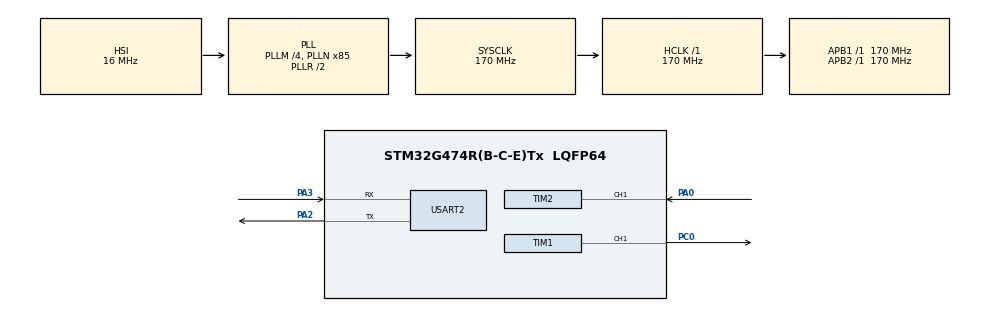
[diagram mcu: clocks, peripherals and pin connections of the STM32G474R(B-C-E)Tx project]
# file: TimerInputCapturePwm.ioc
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Mcu.Family=STM32G4
Mcu.Name=STM32G474R(B-C-E)Tx
Mcu.Package=LQFP64
NVIC.PriorityGroup=NVIC_PRIORITYGROUP_4
NVIC.TIM2_IRQn=true\:0\:0\:false\:false\:true\:true\:true\:true
NVIC.USART2_IRQn=true\:0\:0\:false\:false\:true\:true\:true\:true
PA0.Signal=S_TIM2_CH1
PA2.Mode=Asynchronous
PA2.Signal=USART2_TX
PA3.Mode=Asynchronous
PA3.Signal=USART2_RX
PC0.Signal=S_TIM1_CH1
ProjectManager.HeapSize=0x200
ProjectManager.StackSize=0x400
ProjectManager.TargetToolchain=STM32CubeIDE
RCC.ADC12Freq_Value=170000000
RCC.ADC345Freq_Value=170000000
RCC.AHBFreq_Value=170000000
RCC.APB1Freq_Value=170000000
RCC.APB1TimFreq_Value=170000000
RCC.APB2Freq_Value=170000000
RCC.APB2TimFreq_Value=170000000
RCC.CortexFreq_Value=170000000
RCC.EXTERNAL_CLOCK_VALUE=12288000
RCC.HCLKFreq_Value=170000000
RCC.HSE_VALUE=8000000
RCC.HSI48_VALUE=48000000
RCC.HSI_VALUE=16000000
RCC.LSE_VALUE=32768
RCC.PLLM=RCC_PLLM_DIV4
RCC.PLLN=85
RCC.SYSCLKFreq_VALUE=170000000
RCC.SYSCLKSource=RCC_SYSCLKSOURCE_PLLCLK
RCC.USBFreq_Value=170000000
RCC.VCOOutputFreq_Value=340000000
SH.S_TIM1_CH1.0=TIM1_CH1,PWM Generation1 CH1
SH.S_TIM2_CH1.0=TIM2_CH1,Input_Capture1_from_TI1
TIM1.Channel-PWM\ Generation1\ CH1=TIM_CHANNEL_1
TIM1.PeriodNoDither=0xffff
TIM1.Prescaler=170-1
TIM2.Channel-Input_Capture1_from_TI1=TIM_CHANNEL_1
TIM2.ICPolarity_CH1=TIM_INPUTCHANNELPOLARITY_RISING
TIM2.PeriodNoDither=0xffffffff
TIM2.Prescaler=17-1
USART2.VirtualMode-Asynchronous=VM_ASYNC
VP_SYS_VS_DBSignals.Mode=DisableDeadBatterySignals
VP_TIM1_VS_ClockSourceINT.Mode=Internal
VP_TIM2_VS_ClockSourceINT.Mode=Internal
board=custom

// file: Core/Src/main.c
/* USER CODE BEGIN Header */
/**
  ******************************************************************************
  * @file           : main.c
  * @brief          : PWM Generator and Measurement with UART Control
  ******************************************************************************
  * @attention
  *
  * Copyright (c) 2025 STMicroelectronics.
  * All rights reserved.
  ******************************************************************************
  */
/* USER CODE END Header */

#include "main.h"
#include <stdlib.h>
#include "string.h"
#include "math.h"
#include <stdio.h>

/* USER CODE BEGIN PD */
// TIM1 için clock ayarları (PWM üretimi)
#define TIM1_CLK_HZ         (170000000UL)     // APB2 timer clock (170 MHz)
#define TIM1_PSC_VALUE      (170UL)           // Prescaler değeri: 170MHz / 170 = 1MHz

// TIM2 için clock ayarları (Input Capture) - YÜKSEK FREKANS İÇİN
#define TIM2_CLK_HZ         (170000000UL)     // APB1 timer clock (170 MHz)
#define TIM2_PSC_VALUE      (17UL)            // Prescaler değeri: 170MHz / 17 = 10MHz
#define TICK_HZ             (TIM2_CLK_HZ / TIM2_PSC_VALUE)   // 10 MHz
#define TICK_TO_US(x)       ((float)(x) * (1000000.0f / (float)TICK_HZ))
#define DIFF_TICKS(a,b)     (((b)>=(a)) ? ((b)-(a)) : (0xFFFFFFFFu - (a) + (b) + 1u))

// UART buffer size
#define UART_RX_BUFFER_SIZE 100
/* USER CODE END PD */

TIM_HandleTypeDef htim1;
TIM_HandleTypeDef htim2;
UART_HandleTypeDef huart2;

/* USER CODE BEGIN PV */
volatile uint8_t changed = 0;

typedef enum {  // sabit değişkenleri numaralandırarak kullandım
    IC_WAIT_RISE = 0,
    IC_WAIT_FALL,
    IC_WAIT_NEXT_RISE
} ic_state_t;

static volatile ic_state_t ic_state = IC_WAIT_RISE;
static volatile uint32_t t_rise1 = 0;
static volatile uint32_t t_fall  = 0;
static volatile uint32_t t_rise2 = 0;
static volatile uint32_t high_ticks   = 0;
static volatile uint32_t period_ticks = 0;

/* Ölçüm sonuçları */
volatile float frequency_hz = 0.0f;
volatile float duty_percent = 0.0f;
volatile uint32_t pulse_us  = 0;

/* PWM parametreleri */
static uint32_t current_frequency = 15000;  // Başlangıç frekansı (Hz)
static uint32_t current_duty = 25;          // Başlangıç duty cycle (%)

/* UART buffers */
static uint8_t uart_rx_buffer[UART_RX_BUFFER_SIZE];
static uint8_t uart_rx_char;
static volatile uint8_t uart_rx_index = 0;
static volatile uint8_t uart_command_ready = 0;
/* USER CODE END PV */

void SystemClock_Config(void);
static void MX_GPIO_Init(void);
static void MX_TIM1_Init(void);
static void MX_TIM2_Init(void);
static void MX_USART2_UART_Init(void);

/* USER CODE BEGIN PFP */
static inline void IC_SetPolarity_Rising(void) {
    __HAL_TIM_DISABLE_IT(&htim2, TIM_IT_CC1);
    __HAL_TIM_SET_CAPTUREPOLARITY(&htim2, TIM_CHANNEL_1, TIM_INPUTCHANNELPOLARITY_RISING);
    __HAL_TIM_CLEAR_FLAG(&htim2, TIM_FLAG_CC1);
    __HAL_TIM_ENABLE_IT(&htim2, TIM_IT_CC1);
}

static inline void IC_SetPolarity_Falling(void) {
    __HAL_TIM_DISABLE_IT(&htim2, TIM_IT_CC1);
    __HAL_TIM_SET_CAPTUREPOLARITY(&htim2, TIM_CHANNEL_1, TIM_INPUTCHANNELPOLARITY_FALLING);
    __HAL_TIM_CLEAR_FLAG(&htim2, TIM_FLAG_CC1);
    __HAL_TIM_ENABLE_IT(&htim2, TIM_IT_CC1);
}

void IC_Start(void)
{
    __HAL_TIM_SET_COUNTER(&htim2, 0);
    IC_SetPolarity_Rising();
    ic_state = IC_WAIT_RISE;

    // Input capture için timer'ı yüksek hızda başlattım
    HAL_TIM_IC_Start_IT(&htim2, TIM_CHANNEL_1);

    // Debug mesajı
    char msg[] = "Input Capture started at 10MHz resolution\r\n";
    HAL_UART_Transmit(&huart2, (uint8_t*)msg, strlen(msg), 100);
}

void PWM_UpdateParameters(uint32_t frequency, uint32_t duty_percent_val)
{
    // Frekans sınırlaması kontrolü
    if (frequency > 75000) frequency = 75000;  // Maksimum 75kHz
    if (frequency < 1) frequency = 1;            // Minimum 1Hz
    if (duty_percent_val > 99) duty_percent_val = 99;  // Maksimum %99
    if (duty_percent_val < 1) duty_percent_val = 1;    // Minimum %1

    // HESAPLAMA SATIRLARI
    // Timer clock = 170MHz / prescaler(170) = 1MHz
    // Period = (Timer_Clock / Desired_Frequency) - 1
    uint32_t period = (1000000 / frequency) - 1; // ARR değeri (10MHz bazında)
    uint32_t pulse = ((period + 1) * duty_percent_val) / 100;  // CCR değeri

    // PWM parametrelerini güncelledim
    __HAL_TIM_SET_AUTORELOAD(&htim1, period);
    __HAL_TIM_SET_COMPARE(&htim1, TIM_CHANNEL_1, pulse);

    // Global değişkenleri güncelledim
    current_frequency = frequency;
    current_duty = duty_percent_val;

    // Debug için UART'a gerçek hesaplanan değerleri gönderdim
    char debug[150];
    sprintf(debug, "DEBUG: period=%lu, pulse=%lu, actual_freq=%.2f Hz\r\n",
            period, pulse, 1000000.0f/(period+1));
    HAL_UART_Transmit(&huart2, (uint8_t*)debug, strlen(debug), 100);
}

void UART_SendMeasurements(void)
{
    char buffer[200];
    sprintf(buffer, "\r\n--- PWM Measurements ---\r\n");
    HAL_UART_Transmit(&huart2, (uint8_t*)buffer, strlen(buffer), 100);

    sprintf(buffer, "Set Frequency: %lu Hz, Set Duty: %lu%%\r\n", current_frequency, current_duty);
    HAL_UART_Transmit(&huart2, (uint8_t*)buffer, strlen(buffer), 100);

    sprintf(buffer, "Measured Frequency: %.2f Hz\r\n", frequency_hz);
    HAL_UART_Transmit(&huart2, (uint8_t*)buffer, strlen(buffer), 100);

    sprintf(buffer, "Measured Duty Cycle: %.2f%%\r\n", duty_percent);
    HAL_UART_Transmit(&huart2, (uint8_t*)buffer, strlen(buffer), 100);

    sprintf(buffer, "Pulse Width: %lu us\r\n", pulse_us);
    HAL_UART_Transmit(&huart2, (uint8_t*)buffer, strlen(buffer), 100);

    sprintf(buffer, "------------------------\r\n");
    HAL_UART_Transmit(&huart2, (uint8_t*)buffer, strlen(buffer), 100);
}

void UART_SendHelp(void)
{
    char help_text[] =
        "\r\n=== PWM Generator Control ===\r\n"
        "Commands:\r\n"
        "  F <value>  - Set frequency (1-500000 Hz)\r\n"
        "  D <value>  - Set duty cycle (1-99%)\r\n"
        "  M          - Show measurements\r\n"
        "  H          - Show this help\r\n"
        "\r\n Examples: \r\n"
        "  F45000     - Set frequency to 45000 Hz\r\n"
        "  D75        - Set duty cycle to 75%\r\n";

    HAL_UART_Transmit(&huart2, (uint8_t*)help_text, strlen(help_text), 1000);
}

void Process_UART_Command(void)
{
    if (!uart_command_ready) return;

    uart_command_ready = 0;
    uart_rx_buffer[uart_rx_index] = '\0'; // Null

    char command = uart_rx_buffer[0];
    uint32_t value = 0;

    if (uart_rx_index > 1) {
        value = atoi((char*)&uart_rx_buffer[1]);  // atoi stringi int çevirir
    }

    switch (command) {
        case 'F':
        case 'f':
            if (value >= 1 && value <= 500000) {
                PWM_UpdateParameters(value, current_duty);
                char response[100];
                sprintf(response, "Frequency set to: %lu Hz\r\n", value);
                HAL_UART_Transmit(&huart2, (uint8_t*)response, strlen(response), 100);
                changed = 1;
            } else {
                char error[] = "Error: Frequency must be between 1-500000 Hz\r\n";
                HAL_UART_Transmit(&huart2, (uint8_t*)error, strlen(error), 100);
            }
            break;

        case 'D':
        case 'd':
            if (value >= 1 && value <= 99) {
                PWM_UpdateParameters(current_frequency, value);
                char response[100];
                sprintf(response, "Duty cycle set to: %lu%%\r\n", value);
                HAL_UART_Transmit(&huart2, (uint8_t*)response, strlen(response), 100);
                changed = 1;
            } else {
                char error[] = "Error: Duty cycle must be between 1-99%\r\n";
                HAL_UART_Transmit(&huart2, (uint8_t*)error, strlen(error), 100);
            }
            break;

        case 'M':
        case 'm':
            UART_SendMeasurements();
            break;

        case 'H':
        case 'h':
            UART_SendHelp();
            break;

        default:
            {
                char error[] = "Unknown command. Send 'H' for help.\r\n";
                HAL_UART_Transmit(&huart2, (uint8_t*)error, strlen(error), 100);
            }
            break;
    }

    uart_rx_index = 0; // Reset buffer
}
/* USER CODE END PFP */

/* USER CODE BEGIN 0 */
/* TIM2 CH1 ISR callback */
void HAL_TIM_IC_CaptureCallback(TIM_HandleTypeDef *htim)
{
    if (htim->Instance != TIM2) return; //pointer TIM_HandleTypeDef TypeDeften instance konumunu al
    if (htim->Channel != HAL_TIM_ACTIVE_CHANNEL_1) return;

    uint32_t cap = HAL_TIM_ReadCapturedValue(htim, TIM_CHANNEL_1); //cap değişkenını Hal kütüphane fonksşyonuna ata

    switch (ic_state)
    {
    case IC_WAIT_RISE:
        t_rise1 = cap;
        IC_SetPolarity_Falling();
        ic_state = IC_WAIT_FALL;
        break;

    case IC_WAIT_FALL:
        t_fall = cap;
        high_ticks = DIFF_TICKS(t_rise1, t_fall);
        IC_SetPolarity_Rising();
        ic_state = IC_WAIT_NEXT_RISE;
        break;

    case IC_WAIT_NEXT_RISE:
        t_rise2 = cap;
        period_ticks = DIFF_TICKS(t_rise1, t_rise2);

        if (period_ticks != 0) {
            frequency_hz = ((float)TICK_HZ / (float)period_ticks);
            duty_percent = 100.0f * ((float)high_ticks / (float)period_ticks);
        } else {
            frequency_hz = 0.0f;
            duty_percent = 0.0f;
        }

        pulse_us = (uint32_t)(TICK_TO_US(high_ticks) + 0.5f);

        /* Devamlı ölçüm için */
        t_rise1 = t_rise2;
        IC_SetPolarity_Falling();
        ic_state = IC_WAIT_FALL;
        break;

    default:
        IC_SetPolarity_Rising();
        ic_state = IC_WAIT_RISE;
        break;
    }
}

/* UART RX Callback */
void HAL_UART_RxCpltCallback(UART_HandleTypeDef *huart)
{
    if (huart->Instance == USART2) {
        if (uart_rx_char == '\r' || uart_rx_char == '\n') {
            if (uart_rx_index > 0) {
                uart_command_ready = 1;
            }
        } else if (uart_rx_index < (UART_RX_BUFFER_SIZE - 1)) {
            uart_rx_buffer[uart_rx_index++] = uart_rx_char;
        }

        // Geri gönder terminale yazdır
        HAL_UART_Transmit(&huart2, &uart_rx_char, 1, 10);

        // Continue receiving
        HAL_UART_Receive_IT(&huart2, &uart_rx_char, 1);
    }
}
/* USER CODE END 0 */

int main(void)
{

  /* MCU Configuration--------------------------------------------------------*/

  /* Reset of all peripherals, Initializes the Flash interface and the Systick. */
  HAL_Init();

  /* Configure the system clock */
  SystemClock_Config();

  /* Initialize all configured peripherals */
  MX_GPIO_Init();
  MX_TIM1_Init();
  MX_TIM2_Init();
  MX_USART2_UART_Init();
  /* USER CODE BEGIN 2 */

  // Başlangıç PWM parametrelerini ayarla
  PWM_UpdateParameters(current_frequency, current_duty);
  HAL_TIM_PWM_Start(&htim1, TIM_CHANNEL_1);

  // Input capture başlat
  IC_Start();

  // UART karşılama mesajı
  char welcome[] = "\r\n=== STM32G474 PWM Generator (FIXED) ===\r\n";
  HAL_UART_Transmit(&huart2, (uint8_t*)welcome, strlen(welcome), 100);
  UART_SendHelp();

  // UART interrupt başlat
  HAL_UART_Receive_IT(&huart2, &uart_rx_char, 1);

  /* USER CODE END 2 */

  /* Infinite loop */
  while (1)
  {
    Process_UART_Command();

    // Eğer parametreler değiştiyse ölçüm sonuçlarını gönder
    if (changed) {
        HAL_Delay(100);  // PWM'nin stabilize olması için bekle
        UART_SendMeasurements();
        changed = 0;
    }

    /* USER CODE BEGIN 3 */
    HAL_Delay(50);
  }
  /* USER CODE END 3 */
}

void SystemClock_Config(void)
{
  RCC_OscInitTypeDef RCC_OscInitStruct = {0};
  RCC_ClkInitTypeDef RCC_ClkInitStruct = {0};

  /** Configure the main internal regulator output voltage
  */
  HAL_PWREx_ControlVoltageScaling(PWR_REGULATOR_VOLTAGE_SCALE1_BOOST);

  /** Initializes the RCC Oscillators according to the specified parameters
  * in the RCC_OscInitTypeDef structure.
  */
  RCC_OscInitStruct.OscillatorType = RCC_OSCILLATORTYPE_HSI;
  RCC_OscInitStruct.HSIState = RCC_HSI_ON;
  RCC_OscInitStruct.HSICalibrationValue = RCC_HSICALIBRATION_DEFAULT;
  RCC_OscInitStruct.PLL.PLLState = RCC_PLL_ON;
  RCC_OscInitStruct.PLL.PLLSource = RCC_PLLSOURCE_HSI;
  RCC_OscInitStruct.PLL.PLLM = RCC_PLLM_DIV4;
  RCC_OscInitStruct.PLL.PLLN = 85;
  RCC_OscInitStruct.PLL.PLLP = RCC_PLLP_DIV2;
  RCC_OscInitStruct.PLL.PLLQ = RCC_PLLQ_DIV2;
  RCC_OscInitStruct.PLL.PLLR = RCC_PLLR_DIV2;
  if (HAL_RCC_OscConfig(&RCC_OscInitStruct) != HAL_OK)
  {
    Error_Handler();
  }

  /** Initializes the CPU, AHB and APB buses clocks
  */
  RCC_ClkInitStruct.ClockType = RCC_CLOCKTYPE_HCLK|RCC_CLOCKTYPE_SYSCLK
                              |RCC_CLOCKTYPE_PCLK1|RCC_CLOCKTYPE_PCLK2;
  RCC_ClkInitStruct.SYSCLKSource = RCC_SYSCLKSOURCE_PLLCLK;
  RCC_ClkInitStruct.AHBCLKDivider = RCC_SYSCLK_DIV1;
  RCC_ClkInitStruct.APB1CLKDivider = RCC_HCLK_DIV1;
  RCC_ClkInitStruct.APB2CLKDivider = RCC_HCLK_DIV1;

  if (HAL_RCC_ClockConfig(&RCC_ClkInitStruct, FLASH_LATENCY_4) != HAL_OK)
  {
    Error_Handler();
  }
}

static void MX_TIM1_Init(void)
{

  TIM_ClockConfigTypeDef sClockSourceConfig = {0};
  TIM_MasterConfigTypeDef sMasterConfig = {0};
  TIM_OC_InitTypeDef sConfigOC = {0};
  TIM_BreakDeadTimeConfigTypeDef sBreakDeadTimeConfig = {0};

  htim1.Instance = TIM1;
  htim1.Init.Prescaler = 170-1;  // 170-1 olucak yoksa nyquist örneklemesine giriyor
  htim1.Init.CounterMode = TIM_COUNTERMODE_UP;
  htim1.Init.Period = 65535;
  htim1.Init.ClockDivision = TIM_CLOCKDIVISION_DIV1;
  htim1.Init.RepetitionCounter = 0;
  htim1.Init.AutoReloadPreload = TIM_AUTORELOAD_PRELOAD_DISABLE;
  if (HAL_TIM_Base_Init(&htim1) != HAL_OK)
  {
    Error_Handler();
  }
  sClockSourceConfig.ClockSource = TIM_CLOCKSOURCE_INTERNAL;
  if (HAL_TIM_ConfigClockSource(&htim1, &sClockSourceConfig) != HAL_OK)
  {
    Error_Handler();
  }
  if (HAL_TIM_PWM_Init(&htim1) != HAL_OK)
  {
    Error_Handler();
  }
  sMasterConfig.MasterOutputTrigger = TIM_TRGO_RESET;
  sMasterConfig.MasterOutputTrigger2 = TIM_TRGO2_RESET;
  sMasterConfig.MasterSlaveMode = TIM_MASTERSLAVEMODE_DISABLE;
  if (HAL_TIMEx_MasterConfigSynchronization(&htim1, &sMasterConfig) != HAL_OK)
  {
    Error_Handler();
  }
  sConfigOC.OCMode = TIM_OCMODE_PWM1;
  sConfigOC.Pulse = 0;
  sConfigOC.OCPolarity = TIM_OCPOLARITY_HIGH;
  sConfigOC.OCNPolarity = TIM_OCNPOLARITY_HIGH;
  sConfigOC.OCFastMode = TIM_OCFAST_DISABLE;
  sConfigOC.OCIdleState = TIM_OCIDLESTATE_RESET;
  sConfigOC.OCNIdleState = TIM_OCNIDLESTATE_RESET;
  if (HAL_TIM_PWM_ConfigChannel(&htim1, &sConfigOC, TIM_CHANNEL_1) != HAL_OK)
  {
    Error_Handler();
  }
  sBreakDeadTimeConfig.OffStateRunMode = TIM_OSSR_DISABLE;
  sBreakDeadTimeConfig.OffStateIDLEMode = TIM_OSSI_DISABLE;
  sBreakDeadTimeConfig.LockLevel = TIM_LOCKLEVEL_OFF;
  sBreakDeadTimeConfig.DeadTime = 0;
  sBreakDeadTimeConfig.BreakState = TIM_BREAK_DISABLE;
  sBreakDeadTimeConfig.BreakPolarity = TIM_BREAKPOLARITY_HIGH;
  sBreakDeadTimeConfig.BreakFilter = 0;
  sBreakDeadTimeConfig.BreakAFMode = TIM_BREAK_AFMODE_INPUT;
  sBreakDeadTimeConfig.Break2State = TIM_BREAK2_DISABLE;
  sBreakDeadTimeConfig.Break2Polarity = TIM_BREAK2POLARITY_HIGH;
  sBreakDeadTimeConfig.Break2Filter = 0;
  sBreakDeadTimeConfig.Break2AFMode = TIM_BREAK_AFMODE_INPUT;
  sBreakDeadTimeConfig.AutomaticOutput = TIM_AUTOMATICOUTPUT_DISABLE;
  if (HAL_TIMEx_ConfigBreakDeadTime(&htim1, &sBreakDeadTimeConfig) != HAL_OK)
  {
    Error_Handler();
  }
  HAL_TIM_MspPostInit(&htim1);
}

static void MX_TIM2_Init(void)
{

  TIM_ClockConfigTypeDef sClockSourceConfig = {0};
  TIM_MasterConfigTypeDef sMasterConfig = {0};
  TIM_IC_InitTypeDef sConfigIC = {0};

  htim2.Instance = TIM2;
  htim2.Init.Prescaler = 17-1;  // DÜZELTİLDİ: 10MHz timer clock için
  htim2.Init.CounterMode = TIM_COUNTERMODE_UP;
  htim2.Init.Period = 4294967295;
  htim2.Init.ClockDivision = TIM_CLOCKDIVISION_DIV1;
  htim2.Init.AutoReloadPreload = TIM_AUTORELOAD_PRELOAD_DISABLE;
  if (HAL_TIM_Base_Init(&htim2) != HAL_OK)
  {
    Error_Handler();
  }
  sClockSourceConfig.ClockSource = TIM_CLOCKSOURCE_INTERNAL;
  if (HAL_TIM_ConfigClockSource(&htim2, &sClockSourceConfig) != HAL_OK)
  {
    Error_Handler();
  }
  if (HAL_TIM_IC_Init(&htim2) != HAL_OK)
  {
    Error_Handler();
  }
  sMasterConfig.MasterOutputTrigger = TIM_TRGO_RESET;
  sMasterConfig.MasterSlaveMode = TIM_MASTERSLAVEMODE_DISABLE;
  if (HAL_TIMEx_MasterConfigSynchronization(&htim2, &sMasterConfig) != HAL_OK)
  {
    Error_Handler();
  }
  sConfigIC.ICPolarity = TIM_INPUTCHANNELPOLARITY_RISING;
  sConfigIC.ICSelection = TIM_ICSELECTION_DIRECTTI;
  sConfigIC.ICPrescaler = TIM_ICPSC_DIV1;
  sConfigIC.ICFilter = 0;
  if (HAL_TIM_IC_ConfigChannel(&htim2, &sConfigIC, TIM_CHANNEL_1) != HAL_OK)
  {
    Error_Handler();
  }
  /* USER CODE BEGIN TIM2_Init 2 */
  // GPIOA0 AF1 for TIM2_CH1 - Input Capture için
  __HAL_RCC_GPIOA_CLK_ENABLE();
  GPIO_InitTypeDef GPIO_InitStruct = {0};
  GPIO_InitStruct.Pin = GPIO_PIN_0;
  GPIO_InitStruct.Mode = GPIO_MODE_AF_PP;
  GPIO_InitStruct.Pull = GPIO_NOPULL;
  GPIO_InitStruct.Speed = GPIO_SPEED_FREQ_LOW;
  GPIO_InitStruct.Alternate = GPIO_AF1_TIM2;
  HAL_GPIO_Init(GPIOA, &GPIO_InitStruct);
  /* USER CODE END TIM2_Init 2 */
}

static void MX_USART2_UART_Init(void)
{

  huart2.Instance = USART2;
  huart2.Init.BaudRate = 115200;
  huart2.Init.WordLength = UART_WORDLENGTH_8B;
  huart2.Init.StopBits = UART_STOPBITS_1;
  huart2.Init.Parity = UART_PARITY_NONE;
  huart2.Init.Mode = UART_MODE_TX_RX;
  huart2.Init.HwFlowCtl = UART_HWCONTROL_NONE;
  huart2.Init.OverSampling = UART_OVERSAMPLING_16;
  huart2.Init.OneBitSampling = UART_ONE_BIT_SAMPLE_DISABLE;
  huart2.Init.ClockPrescaler = UART_PRESCALER_DIV1;
  huart2.AdvancedInit.AdvFeatureInit = UART_ADVFEATURE_NO_INIT;
  if (HAL_UART_Init(&huart2) != HAL_OK)
  {
    Error_Handler();
  }
  if (HAL_UARTEx_SetTxFifoThreshold(&huart2, UART_TXFIFO_THRESHOLD_1_8) != HAL_OK)
  {
    Error_Handler();
  }
  if (HAL_UARTEx_SetRxFifoThreshold(&huart2, UART_RXFIFO_THRESHOLD_1_8) != HAL_OK)
  {
    Error_Handler();
  }
  if (HAL_UARTEx_DisableFifoMode(&huart2) != HAL_OK)
  {
    Error_Handler();
  }
}

static void MX_GPIO_Init(void)
{

  /* GPIO Ports Clock Enable */
  __HAL_RCC_GPIOC_CLK_ENABLE();
  __HAL_RCC_GPIOA_CLK_ENABLE();

}

void Error_Handler(void)
{
  __disable_irq();
  while (1)
  {
  }
}
